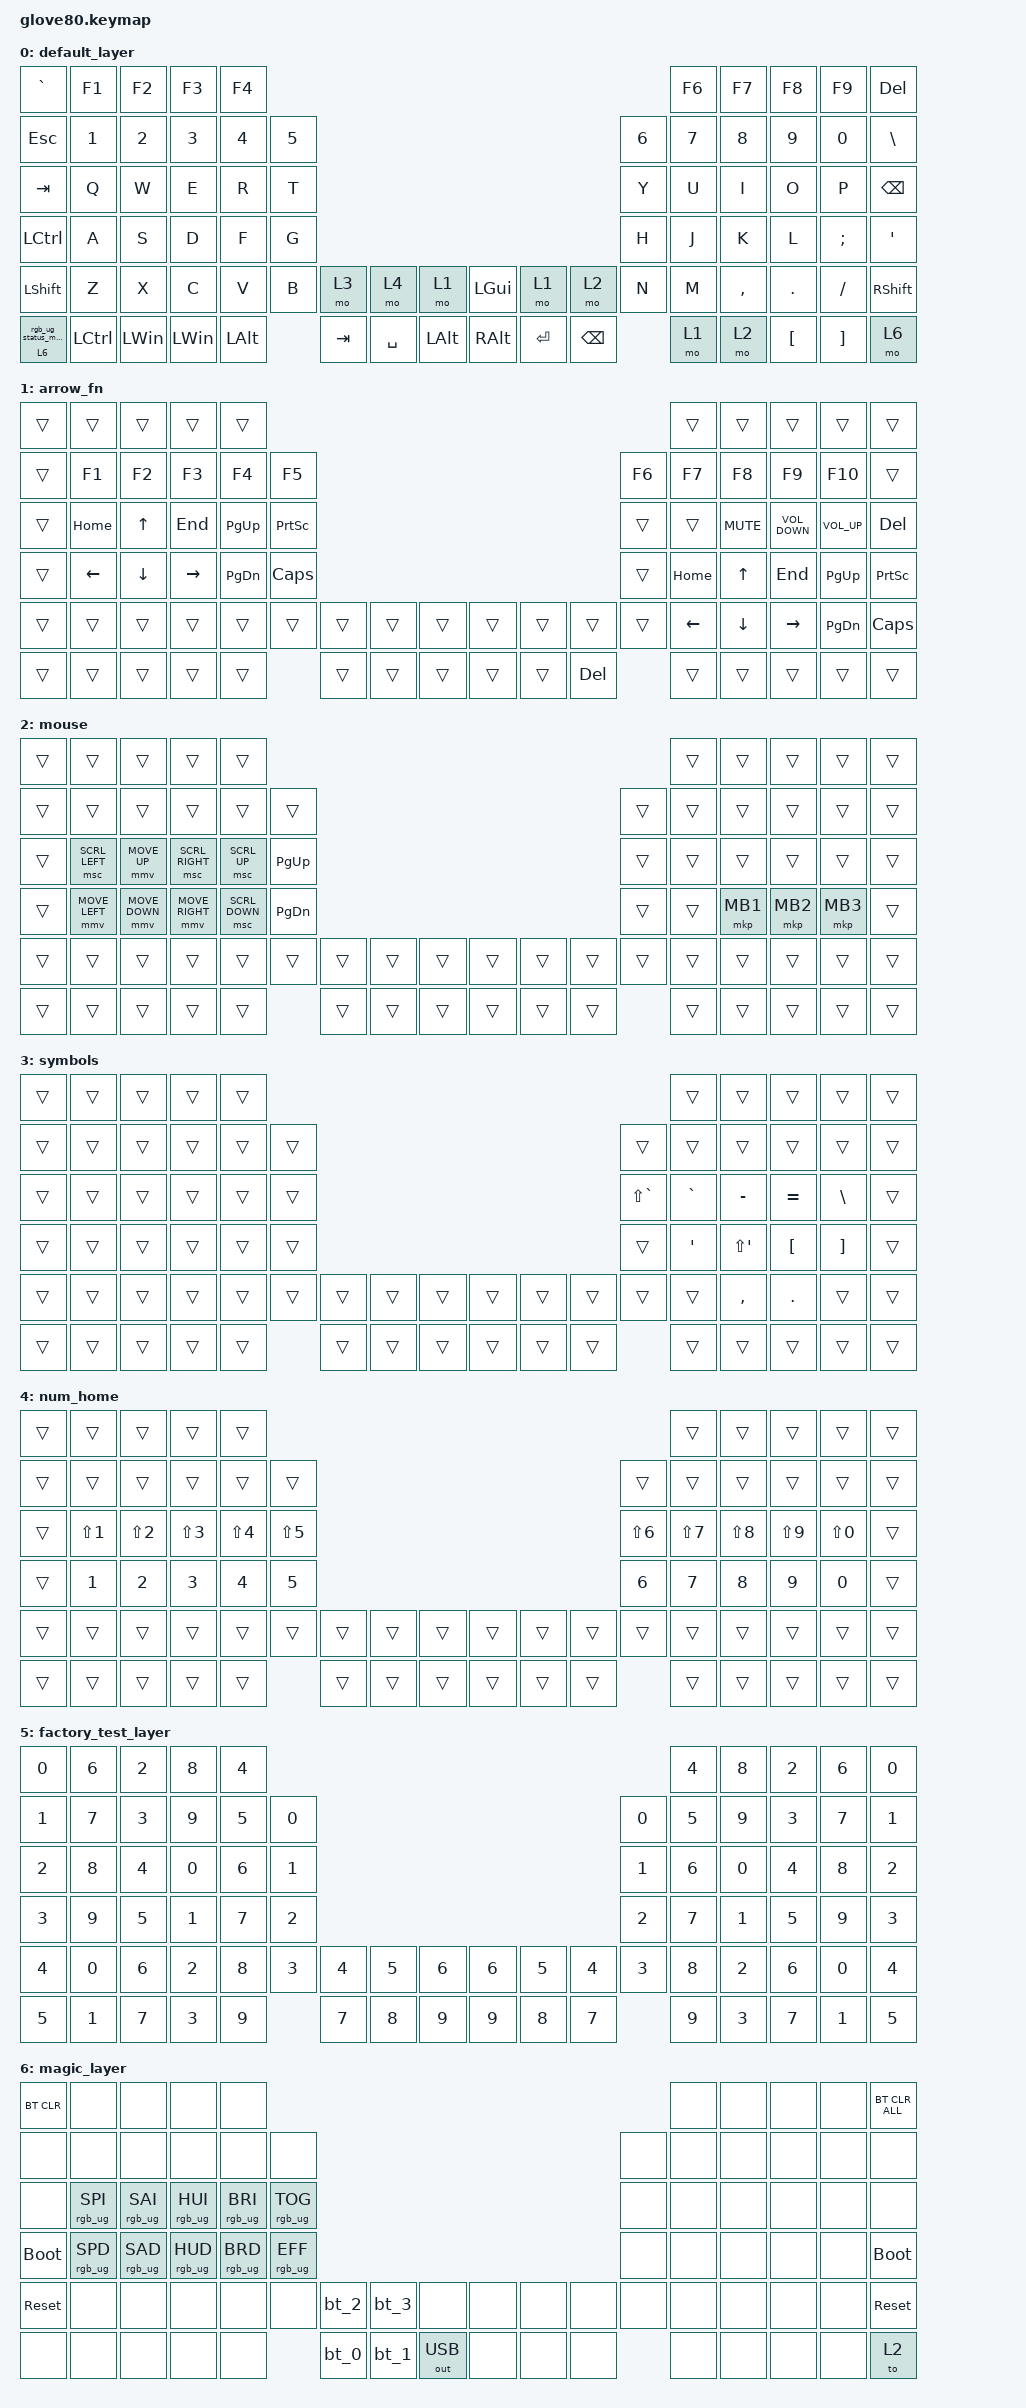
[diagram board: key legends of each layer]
/*
 * Copyright (c) 2020 The ZMK Contributors
 *
 * SPDX-License-Identifier: MIT
 */

#include <behaviors.dtsi>
#include <dt-bindings/zmk/bt.h>
#include <dt-bindings/zmk/keys.h>
#include <dt-bindings/zmk/outputs.h>
#include <dt-bindings/zmk/pointing.h>
#include <dt-bindings/zmk/rgb.h>

#define HYPER LC(LS(LG(LALT)))

// layers

#define DEFAULT 0
#define LOWER 1
#define MAGIC 2
#define FACTORY_TEST 3

/ {
    behaviors {
        // For the "layer" key, it'd nice to be able to use it as either a shift or a toggle.
        // Configure it as a tap dance, so the first tap (or hold) is a &mo and the second tap is a &to

        layer_td: tap_dance_0 {
            compatible = "zmk,behavior-tap-dance";
            label = "LAYER_TAP_DANCE";
            #binding-cells = <0>;
            tapping-term-ms = <200>;
            bindings = <&mo 0>, <&to 0>;
        };

        magic: magic_hold_tap {
            compatible = "zmk,behavior-hold-tap";
            label = "MAGIC_HOLD_TAP";
            #binding-cells = <2>;
            flavor = "tap-preferred";
            tapping-term-ms = <200>;
            bindings = <&mo>, <&rgb_ug_status_macro>;
        };
    };

    macros {
        rgb_ug_status_macro: rgb_ug_status_macro_0 {
            label = "RGB_UG_STATUS";
            compatible = "zmk,behavior-macro";
            #binding-cells = <0>;
            bindings = <&rgb_ug RGB_STATUS>;
        };

        bt_0: bt_profile_macro_0 {
            label = "BT_0";
            compatible = "zmk,behavior-macro";
            #binding-cells = <0>;
            bindings = <&out OUT_BLE &bt BT_SEL 0>;
        };

        bt_1: bt_profile_macro_1 {
            label = "BT_1";
            compatible = "zmk,behavior-macro";
            #binding-cells = <0>;
            bindings = <&out OUT_BLE &bt BT_SEL 1>;
        };

        bt_2: bt_profile_macro_2 {
            label = "BT_2";
            compatible = "zmk,behavior-macro";
            #binding-cells = <0>;
            bindings = <&out OUT_BLE &bt BT_SEL 2>;
        };

        bt_3: bt_profile_macro_3 {
            label = "BT_3";
            compatible = "zmk,behavior-macro";
            #binding-cells = <0>;
            bindings = <&out OUT_BLE &bt BT_SEL 3>;
        };
    };

    keymap {
        compatible = "zmk,keymap";

        default_layer {
            // ---------------------------------------------------------------------------------------------------------------------------------
            // |  F1   |  F2 |  F3 |  F4  |  F5  |                                                               |  F6   |  F7   |  F8  |   F9  |  F10 |
            // |  =    |  1  |  2  |  3   |  4   |  5   |                                                 |  6   |   7   |   8   |  9   |   0   |   -  |
            // |  TAB  |  Q  |  W  |  E   |  R   |  T   |                                                 |  Y   |   U   |   I   |  O   |   P   |   \  |
            // |  ESC  |  A  |  S  |  D   |  F   |  G   |                                                 |  H   |   J   |   K   |  L   |   ;   |   '  |
            // |   `   |  Z  |  X  |  C   |  V   |  B   | LSHFT | LCTRL | LOWER | | LGUI  | RCTRL | RSHFT |  N   |   M   |   ,   |  .   |   /   | PGUP |
            // | MAGIC | HOME| END | LEFT | RIGHT|      | BSPC  | DEL   | LALT  | | RALT  | RET   | SPACE |      |  UP   | DOWN  |  [   |   ]   | PGDN |

            bindings = <
&kp GRAVE       &kp F1            &kp F2        &kp F3        &kp F4                                                                                        &kp F6  &kp F7     &kp F8    &kp F9    &kp DELETE
&kp ESCAPE      &kp N1            &kp N2        &kp N3        &kp N4        &kp N5                                                                  &kp N6  &kp N7  &kp N8     &kp N9    &kp N0    &kp BACKSLASH
&kp TAB         &kp Q             &kp W         &kp E         &kp R         &kp T                                                                   &kp Y   &kp U   &kp I      &kp O     &kp P     &kp BACKSPACE
&kp LCTRL       &kp A             &kp S         &kp D         &kp F         &kp G                                                                   &kp H   &kp J   &kp K      &kp L     &kp SEMI  &kp SQT
&kp LEFT_SHIFT  &kp Z             &kp X         &kp C         &kp V         &kp B   &mo 3    &mo 4      &mo 1     &kp LGUI  &mo 1    &mo 2          &kp N   &kp M   &kp COMMA  &kp DOT   &kp FSLH  &kp RIGHT_SHIFT
&magic 6 0      &kp LEFT_CONTROL  &kp LEFT_WIN  &kp LEFT_WIN  &kp LEFT_ALT          &kp TAB  &kp SPACE  &kp LALT  &kp RALT  &kp RET  &kp BACKSPACE          &mo 1   &mo 2      &kp LBKT  &kp RBKT  &mo 6
            >;
        };

        arrow_fn {
            bindings = <
&trans  &trans    &trans        &trans     &trans                                                                                      &trans          &trans          &trans             &trans           &trans
&trans  &kp F1    &kp F2        &kp F3     &kp F4         &kp F5                                                               &kp F6  &kp F7          &kp F8          &kp F9             &kp F10          &trans
&trans  &kp HOME  &kp UP_ARROW  &kp END    &kp PAGE_UP    &kp PRINTSCREEN                                                      &trans  &trans          &kp C_MUTE      &kp K_VOLUME_DOWN  &kp K_VOLUME_UP  &kp DELETE
&trans  &kp LEFT  &kp DOWN      &kp RIGHT  &kp PAGE_DOWN  &kp CAPSLOCK                                                         &trans  &kp HOME        &kp UP_ARROW    &kp END            &kp PAGE_UP      &kp PRINTSCREEN
&trans  &trans    &trans        &trans     &trans         &trans           &trans  &trans  &trans  &trans  &trans  &trans      &trans  &kp LEFT_ARROW  &kp DOWN_ARROW  &kp RIGHT_ARROW    &kp PAGE_DOWN    &kp CAPSLOCK
&trans  &trans    &trans        &trans     &trans                          &trans  &trans  &trans  &trans  &trans  &kp DELETE          &trans          &trans          &trans             &trans           &trans
            >;
        };

        mouse {
            bindings = <
&trans  &trans          &trans          &trans           &trans                                                                                 &trans  &trans    &trans    &trans    &trans
&trans  &trans          &trans          &trans           &trans          &trans                                                         &trans  &trans  &trans    &trans    &trans    &trans
&trans  &msc SCRL_LEFT  &mmv MOVE_UP    &msc SCRL_RIGHT  &msc SCRL_UP    &kp PAGE_UP                                                    &trans  &trans  &trans    &trans    &trans    &trans
&trans  &mmv MOVE_LEFT  &mmv MOVE_DOWN  &mmv MOVE_RIGHT  &msc SCRL_DOWN  &kp PAGE_DOWN                                                  &trans  &trans  &mkp MB1  &mkp MB2  &mkp MB3  &trans
&trans  &trans          &trans          &trans           &trans          &trans         &trans  &trans  &trans  &trans  &trans  &trans  &trans  &trans  &trans    &trans    &trans    &trans
&trans  &trans          &trans          &trans           &trans                         &trans  &trans  &trans  &trans  &trans  &trans          &trans  &trans    &trans    &trans    &trans
            >;
        };

        symbols {
            bindings = <
&trans  &trans  &trans  &trans  &trans                                                                         &trans     &trans        &trans      &trans         &trans
&trans  &trans  &trans  &trans  &trans  &trans                                                  &trans         &trans     &trans        &trans      &trans         &trans
&trans  &trans  &trans  &trans  &trans  &trans                                                  &kp LS(GRAVE)  &kp GRAVE  &kp MINUS     &kp EQUAL   &kp BACKSLASH  &trans
&trans  &trans  &trans  &trans  &trans  &trans                                                  &trans         &kp APOS   &kp LS(APOS)  &kp LBKT    &kp RBKT       &trans
&trans  &trans  &trans  &trans  &trans  &trans  &trans  &trans  &trans  &trans  &trans  &trans  &trans         &trans     &kp COMMA     &kp PERIOD  &trans         &trans
&trans  &trans  &trans  &trans  &trans          &trans  &trans  &trans  &trans  &trans  &trans                 &trans     &trans        &trans      &trans         &trans
            >;
        };

        num_home {
            bindings = <
&trans  &trans        &trans      &trans      &trans                                                                              &trans      &trans      &trans      &trans      &trans
&trans  &trans        &trans      &trans      &trans      &trans                                                      &trans      &trans      &trans      &trans      &trans      &trans
&trans  &kp LS(N1)    &kp LS(N2)  &kp LS(N3)  &kp LS(N4)  &kp LS(N5)                                                  &kp LS(N6)  &kp LS(N7)  &kp LS(N8)  &kp LS(N9)  &kp LS(N0)  &trans
&trans  &kp NUMBER_1  &kp N2      &kp N3      &kp N4      &kp N5                                                      &kp N6      &kp N7      &kp N8      &kp N9      &kp N0      &trans
&trans  &trans        &trans      &trans      &trans      &trans      &trans  &trans  &trans  &trans  &trans  &trans  &trans      &trans      &trans      &trans      &trans      &trans
&trans  &trans        &trans      &trans      &trans                  &trans  &trans  &trans  &trans  &trans  &trans              &trans      &trans      &trans      &trans      &trans
            >;
        };

        factory_test_layer {
            bindings = <
&kp N0  &kp N6  &kp N2  &kp N8  &kp N4                                                                  &kp N4  &kp N8  &kp N2  &kp N6  &kp N0
&kp N1  &kp N7  &kp N3  &kp N9  &kp N5  &kp N0                                                  &kp N0  &kp N5  &kp N9  &kp N3  &kp N7  &kp N1
&kp N2  &kp N8  &kp N4  &kp N0  &kp N6  &kp N1                                                  &kp N1  &kp N6  &kp N0  &kp N4  &kp N8  &kp N2
&kp N3  &kp N9  &kp N5  &kp N1  &kp N7  &kp N2                                                  &kp N2  &kp N7  &kp N1  &kp N5  &kp N9  &kp N3
&kp N4  &kp N0  &kp N6  &kp N2  &kp N8  &kp N3  &kp N4  &kp N5  &kp N6  &kp N6  &kp N5  &kp N4  &kp N3  &kp N8  &kp N2  &kp N6  &kp N0  &kp N4
&kp N5  &kp N1  &kp N7  &kp N3  &kp N9          &kp N7  &kp N8  &kp N9  &kp N9  &kp N8  &kp N7          &kp N9  &kp N3  &kp N7  &kp N1  &kp N5
            >;
        };

        magic_layer {
            bindings = <
&bt BT_CLR   &none            &none            &none            &none                                                                                     &none  &none  &none  &none  &bt BT_CLR_ALL
&none        &none            &none            &none            &none            &none                                                             &none  &none  &none  &none  &none  &none
&none        &rgb_ug RGB_SPI  &rgb_ug RGB_SAI  &rgb_ug RGB_HUI  &rgb_ug RGB_BRI  &rgb_ug RGB_TOG                                                   &none  &none  &none  &none  &none  &none
&bootloader  &rgb_ug RGB_SPD  &rgb_ug RGB_SAD  &rgb_ug RGB_HUD  &rgb_ug RGB_BRD  &rgb_ug RGB_EFF                                                   &none  &none  &none  &none  &none  &bootloader
&sys_reset   &none            &none            &none            &none            &none            &bt_2  &bt_3  &none         &none  &none  &none  &none  &none  &none  &none  &none  &sys_reset
&none        &none            &none            &none            &none                             &bt_0  &bt_1  &out OUT_USB  &none  &none  &none         &none  &none  &none  &none  &to 2
            >;
        };
    };
};
